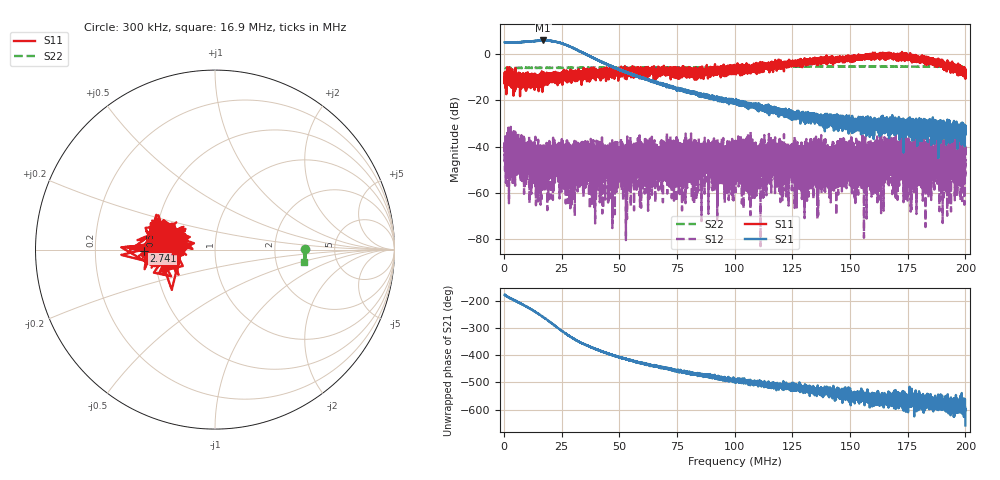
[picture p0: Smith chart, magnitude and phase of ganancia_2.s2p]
# Hz S DB R 50
! CMT, M5065, 19127446, 24.2.4/2
! Date: 10/29/2024 1:02:32 PM
! Data: Format (Calibration Info)
! Freq	S11:dB/Ang(F2)	S21:dB/Ang(F2)	S12:dB/Ang(F2)	S22:dB/Ang(F2)
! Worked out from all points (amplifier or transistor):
!   9000 points, 300 kHz to 200 MHz, reference 50 ohm
!   highest |S21| = 5.9 dB at 16.99 MHz (marker M1)
!   |S21| within 3 dB of that: start of sweep to 29.44 MHz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
!   unconditionally stable (mu >= 1): start of sweep to 158.7 MHz; 174.7 MHz to 176.1 MHz; 176.1 MHz to end of sweep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
!   at 33.59 MHz: K = 22.94, MAG = 2.9 dB, |S12| = -38.2 dB
!   at 100.2 MHz: K = 1947.89, MAG = -18.8 dB, |S12| = -55.5 dB
!   at 200 MHz: K = 3345.25, MAG = -32.5 dB, |S12| = -46.4 dB
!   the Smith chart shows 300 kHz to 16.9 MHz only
!   S11 on the Smith chart (normalised r, x): 300 kHz: 0.63, +0.09; 2.741 MHz: 0.43, -0.01; 16.9 MHz: 0.63, -0.01
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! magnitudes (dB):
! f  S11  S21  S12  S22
! 300 kHz  -12.6  5.0  -42.4  -6.0
! 2.741 MHz  -8.0  5.0  -52.4  -6.1
! 16.9 MHz  -13.0  5.7  -43.0  -6.0
! 16.99 MHz  -9.5  5.9  -45.6  -6.0
! 33.59 MHz  -8.0  0.9  -38.2  -6.0
! 50.61 MHz  -7.5  -7.1  -45.2  -5.8
! 52.41 MHz  -7.7  -7.9  -42.8  -5.8
! 57.6 MHz  -6.6  -9.6  -42.6  -5.8
! 66.87 MHz  -5.4  -12.5  -48.3  -5.7
! 100.2 MHz  -6.6  -21.2  -55.5  -5.7
! 133.4 MHz  -3.4  -27.1  -48.7  -5.4
! 137.9 MHz  -3.1  -28.5  -45.0  -5.4
! 143.5 MHz  -3.4  -30.2  -45.4  -5.4
! 148.8 MHz  -1.9  -29.1  -50.3  -5.4
! 152.3 MHz  -1.1  -30.7  -64.5  -5.4
! 153.6 MHz  -1.3  -30.2  -40.1  -5.4
! 162.1 MHz  -0.2  -30.7  -40.1  -5.4
! 166.7 MHz  -0.1  -34.3  -38.6  -5.4
! 169.8 MHz  -0.8  -31.4  -63.0  -5.4
! 175.1 MHz  -2.7  -29.2  -40.5  -5.4
! 177 MHz  -1.1  -31.0  -41.5  -5.4
! 200 MHz  -7.0  -34.9  -46.4  -5.5
